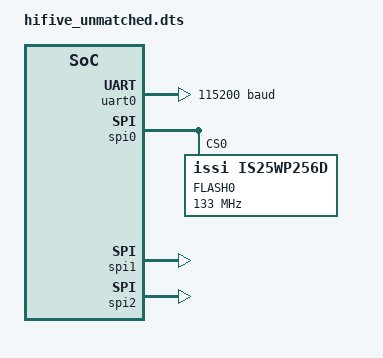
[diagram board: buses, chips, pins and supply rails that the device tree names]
/*
 * Copyright (c) 2021 Katsuhiro Suzuki
 *
 * SPDX-License-Identifier: Apache-2.0
 */

/dts-v1/;

#include <sifive/riscv64-fu740.dtsi>

/ {
	chosen {
		zephyr,console = &uart0;
		zephyr,shell-uart = &uart0;
		zephyr,sram = &l2lim;
	};

	ram0: ram0@80000000 {
		compatible = "memory";
		reg = <0x80000000 0xf0000000>;
		reg-names = "mem";
	};
};

&uart0 {
	status = "okay";
	current-speed = <115200>;
};

&spi0 {
	status = "okay";

	reg = <0x10040000 0x1000 0x20000000 0x2000000>;
	flash0: flash@0 {
		compatible = "issi,is25wp256d", "jedec,spi-nor";
		size = <33554432>;
		label = "FLASH0";
		jedec-id = [96 60 18];
		reg = <0>;
		spi-max-frequency = <133000000>;
	};
};

&spi1 {
	status = "okay";
};

&spi2 {
	status = "okay";
};
